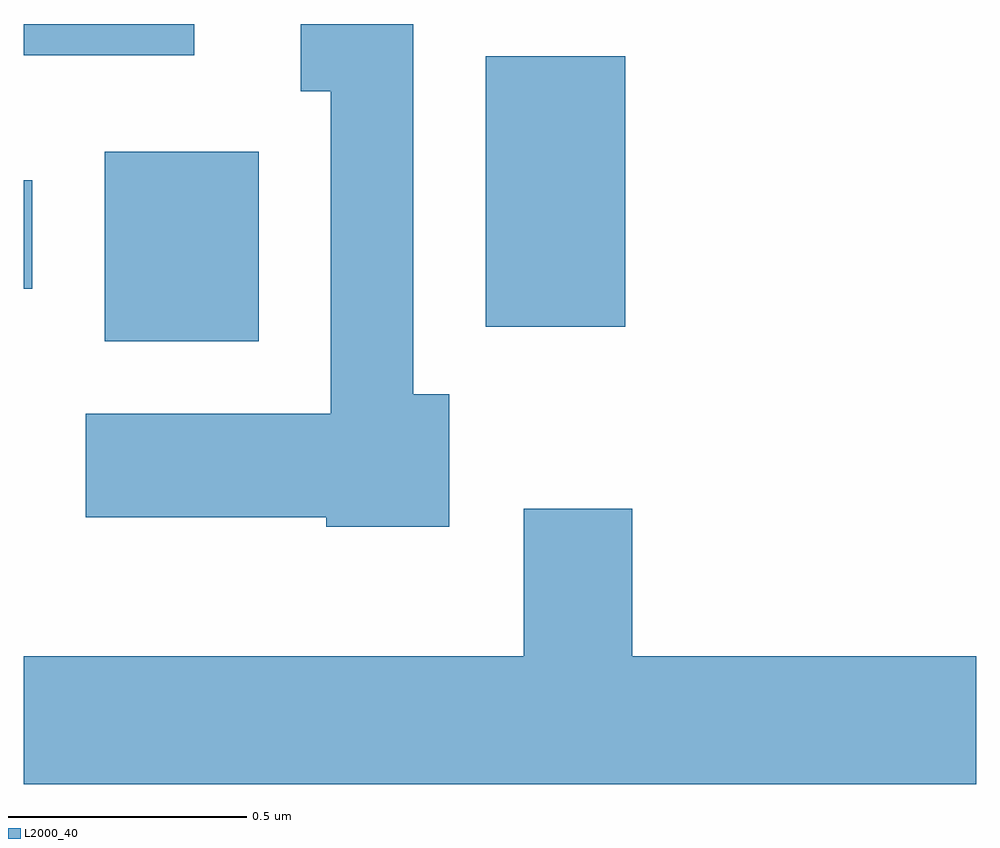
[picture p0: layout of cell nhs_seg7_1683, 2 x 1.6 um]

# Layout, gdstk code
import gdstk
lib = gdstk.Library(unit=1e-6, precision=1e-09)
def R(c, l, rs):  # rectangles x0, y0, x1, y1
    for r in rs: c.add(gdstk.rectangle(r[:2], r[2:], *l))
def P(c, l, *ps):  # polygons
    for p in ps: c.add(gdstk.Polygon(p, *l))
L2000_40 = (2000, 40)

nhs_seg7_1683 = lib.new_cell('nhs_seg7_1683')
R(nhs_seg7_1683, L2000_40, [(197.781,1708.586,198.104,1708.984), (198.581,1708.616,198.874,1709.184), (197.611,1708.696,197.629,1708.924), (197.611,1709.186,197.969,1709.252)])
P(nhs_seg7_1683, L2000_40, [(198.504,1708.474),(198.429,1708.474),(198.429,1709.252),(198.193,1709.252),(198.193,1709.111),(198.256,1709.111),(198.256,1708.434),(197.741,1708.434),(197.741,1708.216),(198.246,1708.216),(198.246,1708.196),(198.504,1708.196)],
  [(199.611,1707.924),(198.889,1707.924),(198.889,1708.234),(198.661,1708.234),(198.661,1707.924),(197.611,1707.924),(197.611,1707.656),(199.611,1707.656)])

lib.write_gds('nhs_seg7_1683.gds')
